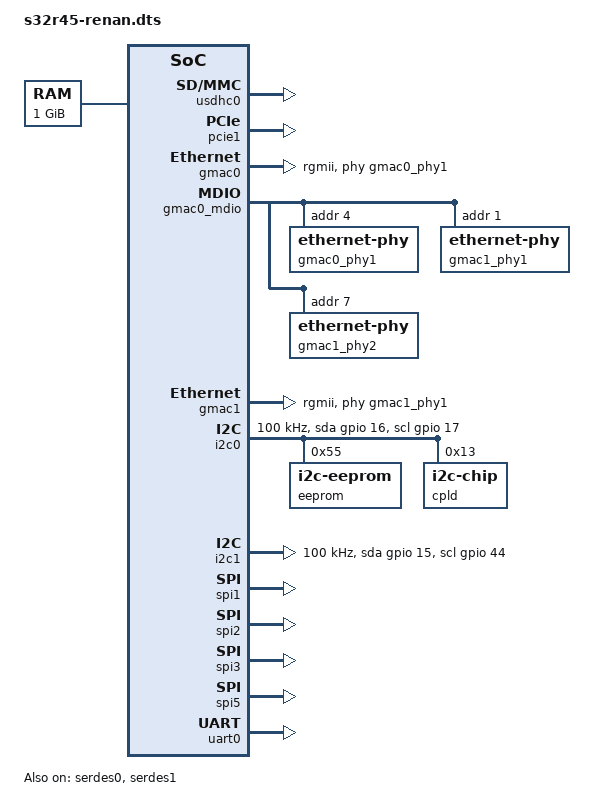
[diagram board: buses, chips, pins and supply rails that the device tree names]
// SPDX-License-Identifier: (GPL-2.0+ OR BSD-3-Clause)
/*
 * Copyright 2023-2024 NXP
 */
#include <dt-bindings/clock/s32r45-scmi-clock.h>
#include <dt-bindings/gpio/gpio.h>
#include <dt-bindings/nvmem/s32cc-siul2-nvmem.h>
#include <dt-bindings/pinctrl/s32cc-pinfunc.h>

/dts-v1/;
#include "s32r45.dtsi"
#include "s32cc-nxp-flash-macronix.dtsi"


/ {
	/* Renan board has only 1G DDR/DRAM. Remap the memory layout. */
	/delete-node/ memory@880000000;

	memory@80000000 {
		device_type = "memory";
		reg = <0 0x80000000 0 0x40000000>; /* 1GB */
	};

	soc {
		/* For Rev1 we don't have Macronix QSPI. */
		/delete-node/ qspi;
	};
};


/* Remap the shared memory for PCIe and SCMI to fit in 1G memory chunk */
&scmi_shbuf {
	reg = <0 0xa0000000 0 0x400000>; /* 4MB */
};

&pci_shared_memory0 {
	reg = <0 0xa0400000 0 0x400000>; /* 4MB */
};

&pci_shared_memory1 {
	reg = <0 0xa0800000 0 0x400000>; /* 4MB */
};

&cmu {
	compatible = "nxp,s32r45-cmu";
};

&usdhc0 {
	pinctrl-0 = <&sd0_pins>;
	pinctrl-names = "default";
	no-1-8-v;
	status = "okay";
};

&pcie0 {
	link-speed = <3>; /* Gen3 */
};

&pcie1 {
	status = "okay";
};

&serdes0 {
	status = "okay";
};

&serdes1 {
	status = "okay";
};

&gmac0 {
	pinctrl-0 = <&rgmii2_pins &mdio2_pins>;
	pinctrl-1 = <&mdio2_pins>;
	pinctrl-names = "gmac_rgmii", "gmac_sgmii";
	status = "okay";
	phy-mode = "rgmii";
	phy-handle = <&gmac0_phy1>;
};

&gmac0_mdio {
	#address-cells = <1>;
	#size-cells = <0>;
	gmac0_phy1: ethernet-phy@4 {
		reg = <4>;
	};
	gmac1_phy1: ethernet-phy@1 {
		reg = <1>;
	};
	gmac1_phy2: ethernet-phy@7 {
		reg = <7>;
	};
};

/* for using 1G */
&gmac1 {
	pinctrl-0 = <&rgmii3_pins>;
	pinctrl-names = "gmac_rgmii";
	phy-mode = "rgmii";
	phy-handle = <&gmac1_phy1>;
	status = "okay";
};

/* J36 - PMIC */
&i2c0 {
	clock-frequency = <100000>;
	pinctrl-names = "default", "gpio";
	pinctrl-0 = <&i2c0_pins>;
	pinctrl-1 = <&i2c0_gpio_pins>;
	scl-gpios = <&gpio 17 (GPIO_ACTIVE_HIGH | GPIO_OPEN_DRAIN)>;
	sda-gpios = <&gpio 16 (GPIO_ACTIVE_HIGH | GPIO_OPEN_DRAIN)>;
	status = "okay";

	eeprom {
		compatible = "i2c-eeprom";
		reg = <0x55>;
		pagesize = <16>;
	};

	cpld {
		compatible = "i2c-chip";
		reg = <0x13>;
		acpi,hid = "CPLD VERSION";
	};
};

/* J37 */
&i2c1 {
	clock-frequency = <100000>;
	pinctrl-names = "default", "gpio";
	pinctrl-0 = <&i2c1_pins>;
	pinctrl-1 = <&i2c1_gpio_pins>;
	scl-gpios = <&gpio 44 (GPIO_ACTIVE_HIGH | GPIO_OPEN_DRAIN)>;
	sda-gpios = <&gpio 15 (GPIO_ACTIVE_HIGH | GPIO_OPEN_DRAIN)>;
	status = "okay";
};

&pinctrl {
	u-boot,dm-pre-reloc;

	dspi0_pins: dspi0 {
		dspi0_grp0 {
			pinmux = <S32CC_PINMUX(14, FUNC3)>,
			         <S32CC_PINMUX(6, FUNC2)>;
			output-enable;
			slew-rate = <S32CC_GPIO_3V3_SLEW_50MHZ>;
		};

		dspi0_grp1 {
			pinmux = <S32CC_PINMUX(132, FUNC0)>;
			input-enable;
			slew-rate = <S32CC_GPIO_3V3_SLEW_50MHZ>;
			bias-pull-up;
		};

		dspi0_grp2 {
			pinmux = <S32CC_PINMUX(7, FUNC2)>,
			         <S32CC_PINMUX(8, FUNC5)>;
			output-enable;
			slew-rate = <S32CC_GPIO_3V3_SLEW_50MHZ>;
			bias-pull-up;
		};

		dspi0_grp3 {
			pinmux = <S32CC_PINMUX(611, FUNC5)>;
		};
	};

	dspi1_pins: dspi1 {
		dspi1_grp0 {
			pinmux = <S32CC_PINMUX(20, FUNC1)>,
			         <S32CC_PINMUX(22, FUNC1)>;
			output-enable;
			slew-rate = <S32CC_GPIO_3V3_SLEW_50MHZ>;
		};

		dspi1_grp1 {
			pinmux = <S32CC_PINMUX(21, FUNC1)>;
			input-enable;
			slew-rate = <S32CC_GPIO_3V3_SLEW_50MHZ>;
			bias-pull-up;
		};

		dspi1_grp2 {
			pinmux = <S32CC_PINMUX(23, FUNC1)>,
			         <S32CC_PINMUX(24, FUNC1)>,
			         <S32CC_PINMUX(35, FUNC1)>,
			         <S32CC_PINMUX(26, FUNC1)>;
			output-enable;
			slew-rate = <S32CC_GPIO_3V3_SLEW_50MHZ>;
			bias-pull-up;
		};

		dspi1_grp3 {
			pinmux = <S32CC_PINMUX(623, FUNC4)>;
		};
	};

	dspi2_pins: dspi2 {
		dspi2_grp0 {
			pinmux = <S32CC_PINMUX(27, FUNC1)>,
			         <S32CC_PINMUX(29, FUNC1)>;
			output-enable;
			slew-rate = <S32CC_GPIO_3V3_SLEW_50MHZ>;
		};

		dspi2_grp1 {
			pinmux = <S32CC_PINMUX(30, FUNC1)>,
				 <S32CC_PINMUX(31, FUNC1)>;
			output-enable;
			slew-rate = <S32CC_GPIO_3V3_SLEW_50MHZ>;
			bias-pull-up;
		};

		dspi2_grp2 {
			pinmux = <S32CC_PINMUX(33, FUNC0)>;
			input-enable;
			slew-rate = <S32CC_GPIO_3V3_SLEW_50MHZ>;
			bias-pull-up;
		};

		dspi2_grp3 {
			pinmux = <S32CC_PINMUX(681, FUNC2)>;
		};
	};

	dspi3_pins: dspi3 {
		dspi3_grp0 {
		    pinmux = <S32CC_PINMUX(45, FUNC1)>,
			     <S32CC_PINMUX(36, FUNC1)>;
		    output-enable;
		    slew-rate = <S32CC_GPIO_3V3_SLEW_50MHZ>;
		};

		dspi3_grp1 {
			pinmux = <S32CC_PINMUX(38, FUNC1)>;
			input-enable;
			slew-rate = <S32CC_GPIO_3V3_SLEW_50MHZ>;
			bias-pull-up;
		};

		dspi3_grp2 {
			pinmux = <S32CC_PINMUX(39, FUNC1)>,
				 <S32CC_PINMUX(40, FUNC1)>;
			output-enable;
			slew-rate = <S32CC_GPIO_3V3_SLEW_50MHZ>;
			bias-pull-up;
		};

		dspi3_grp3 {
			pinmux = <S32CC_PINMUX(654, FUNC3)>;
		};
	};

	dspi5_pins: dspi5 {
		dspi5_grp0 {
		    pinmux = <S32CC_PINMUX(128, FUNC1)>,
			     <S32CC_PINMUX(53, FUNC3)>;
		    output-enable;
		    slew-rate = <S32CC_GPIO_3V3_SLEW_50MHZ>;
		};

		dspi5_grp1 {
			pinmux = <S32CC_PINMUX(133, FUNC4)>;
			input-enable;
			slew-rate = <S32CC_GPIO_3V3_SLEW_50MHZ>;
			bias-pull-up;
		};

		dspi5_grp2 {
			pinmux = <S32CC_PINMUX(131, FUNC3)>;
			output-enable;
			slew-rate = <S32CC_GPIO_3V3_SLEW_50MHZ>;
		};

		dspi5_grp3 {
			pinmux = <S32CC_PINMUX(750, FUNC3)>;
		};
	};

	mdio2_pins: mdio2_pins {
		 mdio2_grp0 {
			 pinmux = <S32CC_PINMUX(60, FUNC1)>;
			 output-enable;
			 slew-rate = <S32CC_FAST_SLEW_166MHZ>;
		 };

		 mdio2_grp1 {
			 pinmux = <S32CC_PINMUX(61, FUNC1)>;
			 drive-open-drain;
			 output-enable;
			 input-enable;
			 slew-rate = <S32CC_FAST_SLEW_166MHZ>;
		 };

		 mdio2_grp2 {
			 pinmux = <S32CC_PINMUX(527, FUNC2)>;
		 };
	};

	rgmii2_pins: rgmii2_pins {
		rgmii2_grp0 {
			pinmux = <S32CC_PINMUX(66, FUNC1)>;
			output-enable;
			slew-rate = <S32CC_FAST_SLEW_166MHZ>;
			bias-pull-up;
		};

		rgmii2_grp1 {
			pinmux = <S32CC_PINMUX(67, FUNC1)>,
			         <S32CC_PINMUX(68, FUNC1)>,
			         <S32CC_PINMUX(69, FUNC1)>,
			         <S32CC_PINMUX(70, FUNC1)>,
			         <S32CC_PINMUX(71, FUNC1)>;
			output-enable;
			slew-rate = <S32CC_FAST_SLEW_166MHZ>;
		};

		rgmii2_grp2 {
			pinmux = <S32CC_PINMUX(72, FUNC1)>,
			         <S32CC_PINMUX(73, FUNC6)>,
			         <S32CC_PINMUX(74, FUNC6)>,
			         <S32CC_PINMUX(75, FUNC6)>,
			         <S32CC_PINMUX(76, FUNC6)>,
			         <S32CC_PINMUX(77, FUNC6)>;
			input-enable;
			slew-rate = <S32CC_FAST_SLEW_166MHZ>;
		};

		rgmii2_grp3 {
			pinmux = <S32CC_PINMUX(538, FUNC2)>,
			         <S32CC_PINMUX(529, FUNC2)>,
			         <S32CC_PINMUX(530, FUNC2)>,
			         <S32CC_PINMUX(531, FUNC2)>,
			         <S32CC_PINMUX(532, FUNC2)>,
			         <S32CC_PINMUX(533, FUNC2)>,
			         <S32CC_PINMUX(534, FUNC2)>;
		};
	};

	/* From the schematics looks like GMAC1 does not have dedicated MDIO pins. */
	rgmii3_pins: rgmii3_pins {
		rgmii3_grp0 {
		    pinmux = <S32CC_PINMUX(109, FUNC2)>;
		    output-enable;
		    slew-rate = <S32CC_FAST_SLEW_166MHZ>;
		    bias-pull-up;
		};
		rgmii3_grp1 {
			pinmux = <S32CC_PINMUX(110, FUNC2)>,
			         <S32CC_PINMUX(105, FUNC2)>,
			         <S32CC_PINMUX(106, FUNC2)>,
			         <S32CC_PINMUX(107, FUNC2)>,
			         <S32CC_PINMUX(108, FUNC1)>;
			output-enable;
			slew-rate = <S32CC_FAST_SLEW_166MHZ>;
		};

		rgmii3_grp2 {
			pinmux = <S32CC_PINMUX(113, FUNC1)>,
			         <S32CC_PINMUX(114, FUNC2)>,
			         <S32CC_PINMUX(115, FUNC1)>,
			         <S32CC_PINMUX(116, FUNC1)>,
			         <S32CC_PINMUX(117, FUNC1)>,
			         <S32CC_PINMUX(118, FUNC2)>;
			input-enable;
			slew-rate = <S32CC_FAST_SLEW_166MHZ>;
		};

		rgmii3_grp3 {
			pinmux = <S32CC_PINMUX(660, FUNC2)>,
			         <S32CC_PINMUX(662, FUNC2)>,
			         <S32CC_PINMUX(663, FUNC2)>,
			         <S32CC_PINMUX(664, FUNC2)>,
			         <S32CC_PINMUX(665, FUNC2)>,
			         <S32CC_PINMUX(666, FUNC2)>,
			         <S32CC_PINMUX(667, FUNC2)>;
		};
	};

	i2c0_pins: i2c0 {
		i2c0_grp0 {
			pinmux = <S32CC_PINMUX(16, FUNC1)>,
			         <S32CC_PINMUX(17, FUNC1)>;
			drive-open-drain;
			output-enable;
			input-enable;
			slew-rate = <S32CC_GPIO_3V3_SLEW_50MHZ>;
		};

		i2c0_grp1 {
			pinmux = <S32CC_PINMUX(565, FUNC2)>,
			         <S32CC_PINMUX(566, FUNC2)>;
		};
	};

	i2c0_gpio_pins: i2c0_gpio {
		i2c0_gpio_grp0 {
			pinmux = <S32CC_PINMUX(16, FUNC0)>,
			         <S32CC_PINMUX(17, FUNC0)>;
			drive-open-drain;
			output-enable;
			slew-rate = <S32CC_GPIO_3V3_SLEW_50MHZ>;
		};

		i2c0_gpio_grp1 {
			pinmux = <S32CC_PINMUX(565, FUNC0)>,
			         <S32CC_PINMUX(566, FUNC0)>;
		};
	};

	i2c1_pins: i2c1 {
		i2c1_grp0 {
			pinmux = <S32CC_PINMUX(15, FUNC3)>,
			         <S32CC_PINMUX(44, FUNC5)>;
			drive-open-drain;
			output-enable;
			input-enable;
			slew-rate = <S32CC_GPIO_3V3_SLEW_50MHZ>;
		};

		i2c1_grp2 {
			pinmux = <S32CC_PINMUX(616, FUNC2)>,
			         <S32CC_PINMUX(615, FUNC4)>;
		};
	   };

	i2c1_gpio_pins: i2c1_gpio {
		i2c1_gpio_grp0 {
			pinmux = <S32CC_PINMUX(44, FUNC0)>,
			         <S32CC_PINMUX(15, FUNC0)>;
			drive-open-drain;
			output-enable;
			slew-rate = <S32CC_GPIO_3V3_SLEW_50MHZ>;
		};

		i2c1_gpio_grp1 {
			pinmux = <S32CC_PINMUX(615, FUNC0)>,
			         <S32CC_PINMUX(616, FUNC0)>;
		};
	};

	qspi_pins: qspi {
		qspi_grp0 {
			pinmux = <S32CC_PINMUX(85, FUNC1)>,
			         <S32CC_PINMUX(86, FUNC1)>,
			         <S32CC_PINMUX(87, FUNC1)>,
			         <S32CC_PINMUX(88, FUNC1)>,
			         <S32CC_PINMUX(89, FUNC1)>,
			         <S32CC_PINMUX(90, FUNC1)>,
			         <S32CC_PINMUX(91, FUNC1)>,
			         <S32CC_PINMUX(92, FUNC1)>,
			         <S32CC_PINMUX(93, FUNC1)>;
			output-enable;
			input-enable;
			slew-rate = <S32CC_GPIO_1V8_SLEW_150MHZ>;
			bias-pull-down;
		};

		qspi_grp1 {
			pinmux = <S32CC_PINMUX(96, FUNC1)>;
			output-enable;
			slew-rate = <S32CC_GPIO_1V8_SLEW_150MHZ>;
		};

		qspi_grp2 {
			pinmux = <S32CC_PINMUX(100, FUNC1)>,
			         <S32CC_PINMUX(101, FUNC1)>;
			output-enable;
			slew-rate = <S32CC_GPIO_1V8_SLEW_150MHZ>;
			bias-pull-up;
		};

		qspi_grp3 {
			pinmux = <S32CC_PINMUX(540, FUNC2)>,
			         <S32CC_PINMUX(541, FUNC2)>,
			         <S32CC_PINMUX(542, FUNC2)>,
			         <S32CC_PINMUX(543, FUNC2)>,
			         <S32CC_PINMUX(544, FUNC2)>,
			         <S32CC_PINMUX(545, FUNC2)>,
			         <S32CC_PINMUX(546, FUNC2)>,
			         <S32CC_PINMUX(547, FUNC2)>,
			         <S32CC_PINMUX(548, FUNC2)>;
		};
	};

	sd0_pins: sd0 {
		sd0_grp0 {
			pinmux = <S32CC_PINMUX(46, FUNC1)>;
			output-enable;
			slew-rate = <S32CC_FAST_SLEW_150MHZ>;
			bias-pull-down;
		};

		sd0_grp1 {
			pinmux = <S32CC_PINMUX(47, FUNC1)>,
			         <S32CC_PINMUX(48, FUNC1)>,
			         <S32CC_PINMUX(49, FUNC1)>,
			         <S32CC_PINMUX(50, FUNC1)>,
			         <S32CC_PINMUX(51, FUNC1)>;
			output-enable;
			input-enable;
			slew-rate = <S32CC_FAST_SLEW_150MHZ>;
			bias-pull-up;
		};

		sd0_grp3 {
			pinmux = <S32CC_PINMUX(515, FUNC2)>,
			         <S32CC_PINMUX(516, FUNC2)>,
			         <S32CC_PINMUX(517, FUNC2)>,
			         <S32CC_PINMUX(520, FUNC2)>,
			         <S32CC_PINMUX(521, FUNC2)>;
		};
	};

	uart0_pins: uart0 {
		uart0_grp0 {
			pinmux = <S32CC_PINMUX(41, FUNC1)>;
			output-enable;
			slew-rate = <S32CC_GPIO_3V3_SLEW_50MHZ>;
		};

		uart0_grp1 {
			pinmux = <S32CC_PINMUX(42, FUNC0)>;
			input-enable;
			slew-rate = <S32CC_GPIO_3V3_SLEW_50MHZ>;
		};

		uart0_grp2 {
			pinmux = <S32CC_PINMUX(512, FUNC2)>;
		};
	};
};

&spi1 {
	pinctrl-names = "default";
	pinctrl-0 = <&dspi1_pins>;
	status = "okay";
};

&spi2 {
	pinctrl-names = "default";
	pinctrl-0 = <&dspi2_pins>;
	status = "okay";
};

&spi3 {
	pinctrl-names = "default";
	pinctrl-0 = <&dspi3_pins>;
	status = "okay";
};

&spi5 {
	pinctrl-names = "default";
	pinctrl-0 =  <&dspi5_pins>;
	status = "okay";
};

&ocotp {
	compatible = "nxp,s32r45-ocotp";
};

&uart0 {
	pinctrl-0 = <&uart0_pins>;
	pinctrl-names = "default";
	status = "okay";
};
